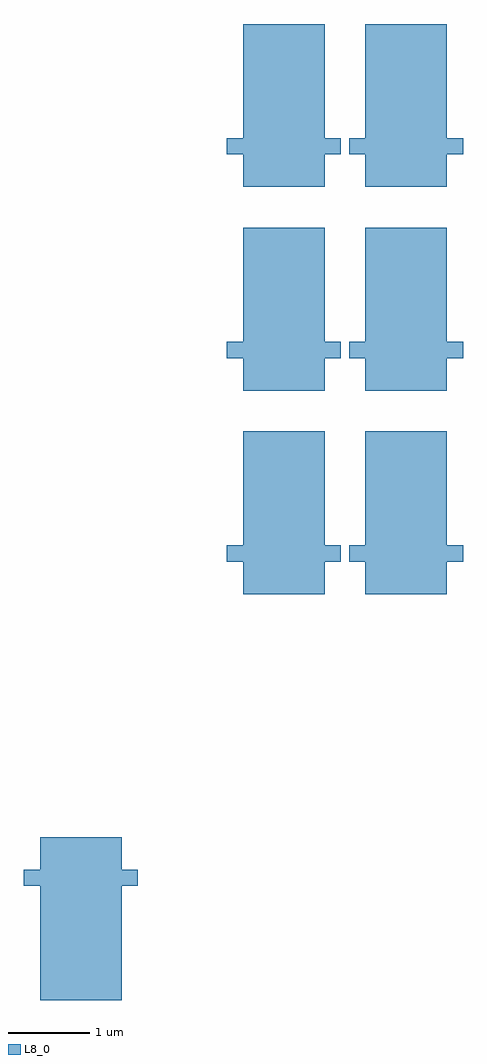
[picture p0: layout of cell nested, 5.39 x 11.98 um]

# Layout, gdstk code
from math import pi, radians
import gdstk
lib = gdstk.Library(unit=1e-6, precision=1e-09)
def R(c, l, rs):  # rectangles x0, y0, x1, y1
    for r in rs: c.add(gdstk.rectangle(r[:2], r[2:], *l))
L8_0 = (8, 0)

pair = lib.new_cell('pair')
R(pair, L8_0, [(0.4,-0.2,0.6,1.2), (0,0,2,1)])

rot90 = lib.new_cell('rot90')
rot90.add(gdstk.Reference(pair, (5,2), rotation=pi/2))

arr = lib.new_cell('arr')
r = gdstk.Reference(pair, (1,0.5)); r.repetition = gdstk.Repetition(3, 2, v1=(2.5,0), v2=(0,1.5)); arr.add(r)

nested = lib.new_cell('nested')
nested.add(gdstk.Reference(rot90, (0.01,0.02), rotation=pi))
nested.add(gdstk.Reference(arr, (-3,0), rotation=pi/2, x_reflection=True))

lib.write_gds('nested.gds')
